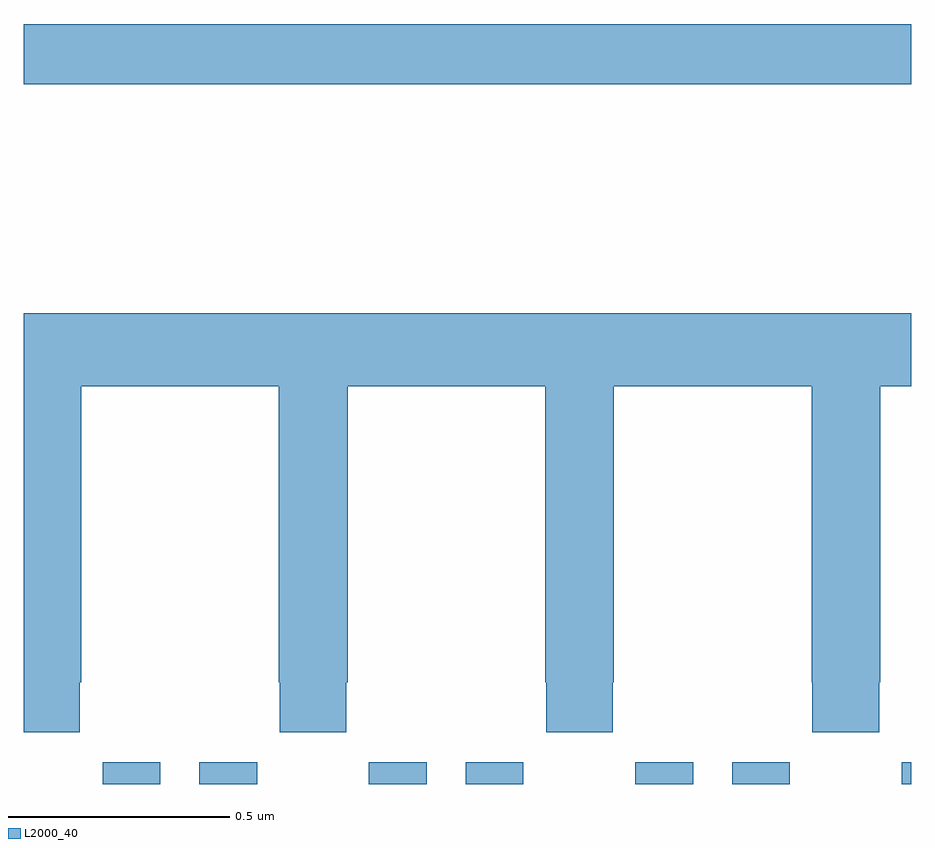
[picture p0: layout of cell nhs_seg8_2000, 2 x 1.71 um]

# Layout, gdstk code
import gdstk
lib = gdstk.Library(unit=1e-6, precision=1e-09)
def R(c, l, rs):  # rectangles x0, y0, x1, y1
    for r in rs: c.add(gdstk.rectangle(r[:2], r[2:], *l))
def P(c, l, *ps):  # polygons
    for p in ps: c.add(gdstk.Polygon(p, *l))
L2000_40 = (2000, 40)

nhs_seg8_2000 = lib.new_cell('nhs_seg8_2000')
R(nhs_seg8_2000, L2000_40, [(137.178,1152.9,137.308,1152.949), (137.396,1152.9,137.526,1152.949), (137.778,1152.9,137.908,1152.949), (137.996,1152.9,138.126,1152.949), (138.378,1152.9,138.508,1152.949), (138.596,1152.9,138.726,1152.949), (138.978,1152.9,139,1152.949), (137,1154.476,139,1154.612)])
P(nhs_seg8_2000, L2000_40, [(137.127,1153.129),(137.13,1153.129),(137.13,1153.796),(137.575,1153.796),(137.575,1153.129),(137.577,1153.129),(137.577,1153.017),(137.727,1153.017),(137.727,1153.129),(137.73,1153.129),(137.73,1153.796),(138.175,1153.796),(138.175,1153.129),(138.177,1153.129),(138.177,1153.017),(138.327,1153.017),(138.327,1153.129),(138.33,1153.129),(138.33,1153.796),(138.775,1153.796),(138.775,1153.129),(138.777,1153.129),(138.777,1153.017),(138.927,1153.017),(138.927,1153.129),(138.93,1153.129),(138.93,1153.796),(139,1153.796),(139,1153.96),(137,1153.96),(137,1153.017),(137.127,1153.017)])

lib.write_gds('nhs_seg8_2000.gds')
